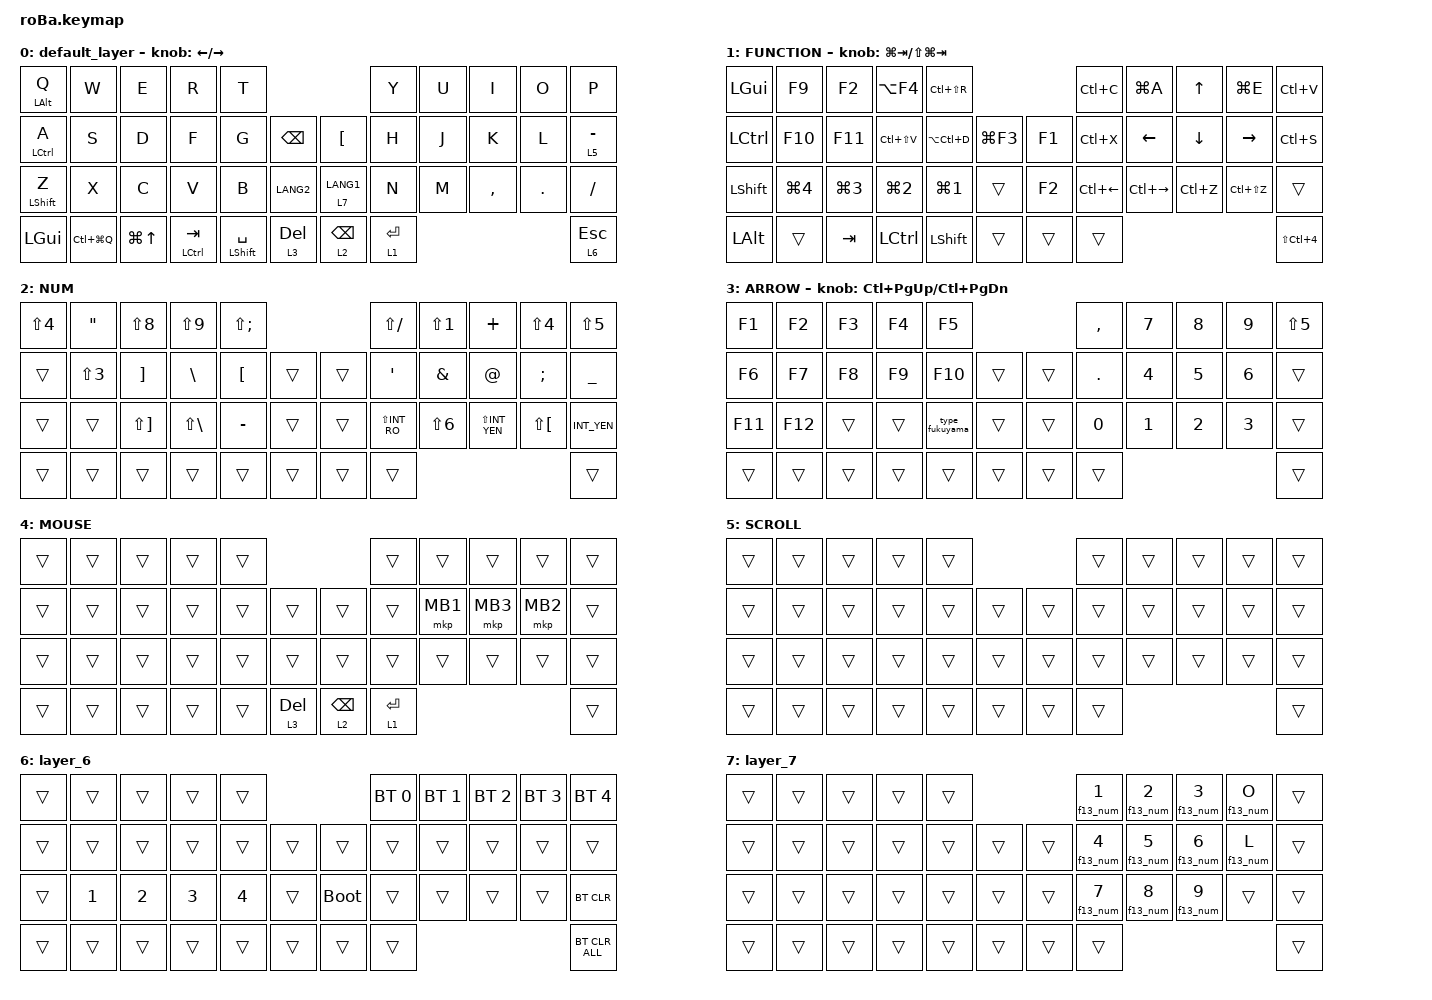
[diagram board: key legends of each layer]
#include <behaviors.dtsi>
#include <dt-bindings/zmk/bt.h>
#include <dt-bindings/zmk/keys.h>
#include <dt-bindings/zmk/pointing.h>

#define MOUSE 4
#define SCROLL 5
#define NUM 6

&mt {
    flavor = "balanced";
    quick-tap-ms = <0>;
};

/ {
    combos {
        compatible = "zmk,combos";

        tab {
            bindings = <&kp TAB>;
            key-positions = <0 1>;
        };

        virtual_desktop_r {
            bindings = <&kp LG(RIGHT_ARROW)>;
            key-positions = <20 19>;
        };

        virtual_desktop_l {
            bindings = <&kp LG(LEFT_ARROW)>;
            key-positions = <18 19>;
        };
    };

    macros {
        to_layer_0: to_layer_0 {
            compatible = "zmk,behavior-macro-one-param";
            #binding-cells = <1>;
            bindings = <&to 0 &macro_param_1to1 &kp MACRO_PLACEHOLDER>;
            label = "TO_LAYER_0";
        };

        f13_num: f13_num {
            compatible = "zmk,behavior-macro-one-param";
            #binding-cells = <1>;
            bindings =
                <&macro_press>,
                <&kp F13 &macro_param_1to1>,
                <&macro_tap>,
                <&kp MACRO_PLACEHOLDER>,
                <&macro_release>,
                <&kp F13>;

            label = "F13_NUM";
        };

        type_fukuyama: type_fukuyama {
            compatible = "zmk,behavior-macro";
            #binding-cells = <0>;
            bindings = <&none &kp LS(F) &kp U &kp K &kp U &kp Y &kp A &kp M &kp A &kp P &kp A &kp S &kp S &kp N2 &kp N2 &kp N3 &kp N2 &kp RET>;
            label = "TYPE_FUKUYAMA";
        };
    };

    behaviors {
        lt_to_layer_0: lt_to_layer_0 {
            compatible = "zmk,behavior-hold-tap";
            label = "LAYER_TAP_TO_0";
            bindings = <&mo>, <&to_layer_0>;

            #binding-cells = <2>;
            tapping-term-ms = <200>;
        };

        tog_on: toggle_layer_on_only {
            compatible = "zmk,behavior-toggle-layer";
            #binding-cells = <1>;
            display-name = "Toggle Layer On";
            toggle-mode = "on";
        };

        tog_off: toggle_layer_off_only {
            compatible = "zmk,behavior-toggle-layer";
            #binding-cells = <1>;
            display-name = "Toggle Layer Off";
            toggle-mode = "off";
        };
    };

    keymap {
        compatible = "zmk,keymap";

        default_layer {
            bindings = <
&mt LEFT_ALT Q      &kp W          &kp E             &kp R                 &kp T                                                             &kp Y        &kp U  &kp I      &kp O    &kp P
&mt LEFT_CONTROL A  &kp S          &kp D             &kp F                 &kp G                 &kp BACKSPACE             &kp LEFT_BRACKET  &kp H        &kp J  &kp K      &kp L    &lt 5 MINUS
&mt LEFT_SHIFT Z    &kp X          &kp C             &kp V                 &kp B                 &kp LANG2                 &lt 7 LANG1       &kp N        &kp M  &kp COMMA  &kp DOT  &kp SLASH
&kp LEFT_GUI        &kp LC(LG(Q))  &kp LG(UP_ARROW)  &mt LEFT_CONTROL TAB  &mt LEFT_SHIFT SPACE  &lt_to_layer_0 3 DEL      &lt 2 BACKSPACE   &lt 1 ENTER                             &lt 6 ESC
            >;

            sensor-bindings = <&inc_dec_kp LEFT_ARROW RIGHT_ARROW>;
        };

        FUNCTION {
            bindings = <
&kp LEFT_GUI      &kp F9            &kp F2            &kp LA(F4)        &kp LC(LS(R))                             &kp LC(C)           &kp LG(A)       &kp UP_ARROW    &kp LG(E)      &kp LC(V)
&kp LEFT_CONTROL  &kp F10           &kp F11           &kp LC(LS(V))     &kp LA(LC(D))     &kp LG(F3)      &kp F1  &kp LC(X)           &kp LEFT_ARROW  &kp DOWN_ARROW  &kp RIGHT      &kp LC(S)
&kp LEFT_SHIFT    &kp LG(NUMBER_4)  &kp LG(NUMBER_3)  &kp LG(NUMBER_2)  &kp LG(NUMBER_1)  &trans          &kp F2  &kp LC(LEFT_ARROW)  &kp LC(RIGHT)   &kp LC(Z)       &kp LC(LS(Z))  &trans
&kp LEFT_ALT      &trans            &kp TAB           &kp LCTRL         &kp LEFT_SHIFT    &trans          &trans  &trans                                                             &kp LS(LC(NUMBER_4))
            >;

            sensor-bindings = <&inc_dec_kp LG(TAB) LS(LG(TAB))>;
        };

        NUM {
            bindings = <
&kp LS(NUMBER_4)  &kp DOUBLE_QUOTES  &kp LS(NUMBER_8)       &kp LS(NUMBER_9)   &kp LS(SEMI)                          &kp LS(SLASH)   &kp LS(NUMBER_1)  &kp PLUS         &kp LS(NUMBER_4)      &kp LS(NUMBER_5)
&trans            &kp LS(NUMBER_3)   &kp RIGHT_BRACKET      &kp BACKSLASH      &kp LEFT_BRACKET  &trans      &trans  &kp SQT         &kp AMPS          &kp AT_SIGN      &kp SEMI              &kp UNDER
&trans            &trans             &kp LS(RIGHT_BRACKET)  &kp LS(BACKSLASH)  &kp MINUS         &trans      &trans  &kp LS(INT_RO)  &kp LS(NUMBER_6)  &kp LS(INT_YEN)  &kp LS(LEFT_BRACKET)  &kp INT_YEN
&trans            &trans             &trans                 &trans             &trans            &trans      &trans  &trans                                                                   &trans
            >;
        };

        ARROW {
            bindings = <
&kp F1   &kp F2   &kp F3  &kp F4  &kp F5                              &kp COMMA   &kp N7        &kp N8        &kp N9        &kp LS(N5)
&kp F6   &kp F7   &kp F8  &kp F9  &kp F10         &trans      &trans  &kp PERIOD  &kp NUMBER_4  &kp N5        &kp NUMBER_6  &trans
&kp F11  &kp F12  &trans  &trans  &type_fukuyama  &trans      &trans  &kp N0      &kp NUMBER_1  &kp NUMBER_2  &kp NUMBER_3  &trans
&trans   &trans   &trans  &trans  &trans          &trans      &trans  &trans                                                &trans
            >;

            sensor-bindings = <&inc_dec_kp LC(PAGE_UP) LC(PAGE_DOWN)>;
        };

        MOUSE {
            bindings = <
&trans  &trans  &trans  &trans  &trans                                                        &trans                  &trans    &trans    &trans    &trans
&trans  &trans  &trans  &trans  &trans  &trans                    &trans                      &trans                  &mkp MB1  &mkp MB3  &mkp MB2  &trans
&trans  &trans  &trans  &trans  &trans  &trans                    &trans                      &trans                  &trans    &trans    &trans    &trans
&trans  &trans  &trans  &trans  &trans  &lt_to_layer_0 3 DEL      &lt_to_layer_0 2 BACKSPACE  &lt_to_layer_0 1 ENTER                                &trans
            >;
        };

        SCROLL {
            bindings = <
&trans  &trans  &trans  &trans  &trans                      &trans  &trans  &trans  &trans  &trans
&trans  &trans  &trans  &trans  &trans  &trans      &trans  &trans  &trans  &trans  &trans  &trans
&trans  &trans  &trans  &trans  &trans  &trans      &trans  &trans  &trans  &trans  &trans  &trans
&trans  &trans  &trans  &trans  &trans  &trans      &trans  &trans                          &trans
            >;
        };

        layer_6 {
            bindings = <
&trans  &trans        &trans        &trans        &trans                                 &bt BT_SEL 0  &bt BT_SEL 1  &bt BT_SEL 2  &bt BT_SEL 3  &bt BT_SEL 4
&trans  &trans        &trans        &trans        &trans        &trans      &trans       &trans        &trans        &trans        &trans        &trans
&trans  &kp NUMBER_1  &kp NUMBER_2  &kp NUMBER_3  &kp NUMBER_4  &trans      &bootloader  &trans        &trans        &trans        &trans        &bt BT_CLR
&trans  &trans        &trans        &trans        &trans        &trans      &trans       &trans                                                  &bt BT_CLR_ALL
            >;
        };

        layer_7 {
            bindings = <
&trans  &trans  &trans  &trans  &trans                      &f13_num NUMBER_1  &f13_num NUMBER_2  &f13_num NUMBER_3  &f13_num O  &trans
&trans  &trans  &trans  &trans  &trans  &trans      &trans  &f13_num NUMBER_4  &f13_num NUMBER_5  &f13_num NUMBER_6  &f13_num L  &trans
&trans  &trans  &trans  &trans  &trans  &trans      &trans  &f13_num NUMBER_7  &f13_num NUMBER_8  &f13_num NUMBER_9  &trans      &trans
&trans  &trans  &trans  &trans  &trans  &trans      &trans  &trans                                                               &trans
            >;
        };
    };
};
